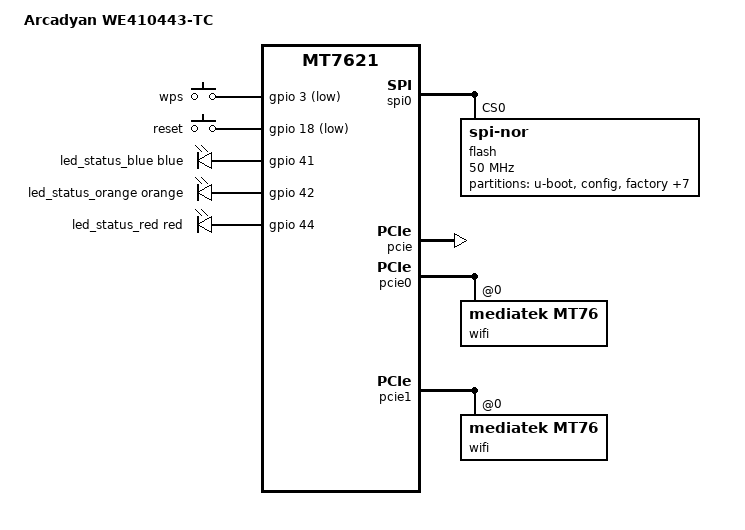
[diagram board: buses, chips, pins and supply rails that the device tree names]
// SPDX-License-Identifier: GPL-2.0-or-later OR MIT
// Arcadyan WE410443-TC (Chunghwa Telecom variant, 16MB SPI NOR, dual image)
// Based on upstream mt7621_arcadyan_we410443.dts (KPN/BT, 32MB) +
// partition layout from pccr10001/padavan-4.4 we410443-tc.dts and stock /proc/mtd.

#include "mt7621.dtsi"

#include <dt-bindings/gpio/gpio.h>
#include <dt-bindings/input/input.h>
#include <dt-bindings/leds/common.h>

/ {
	model = "Arcadyan WE410443-TC";
	compatible = "arcadyan,we410443-tc", "mediatek,mt7621-soc";

	aliases {
		led-boot = &led_status_orange;
		led-failsafe = &led_status_red;
		led-running = &led_status_orange;
		led-upgrade = &led_status_blue;
		label-mac-device = &gmac0;
	};

	chosen {
		bootargs = "console=ttyS0,57600";
	};

	keys {
		compatible = "gpio-keys";

		/* upstream: wps=3 reset=18; padavan-TC has them swapped - verify on device */
		wps {
			label = "wps";
			gpios = <&gpio 3 GPIO_ACTIVE_LOW>;
			linux,code = <KEY_WPS_BUTTON>;
		};

		reset {
			label = "reset";
			gpios = <&gpio 18 GPIO_ACTIVE_LOW>;
			linux,code = <KEY_RESTART>;
		};
	};

	leds {
		compatible = "gpio-leds";

		led_status_blue: blue {
			color = <LED_COLOR_ID_BLUE>;
			function = LED_FUNCTION_STATUS;
			gpios = <&gpio 41 GPIO_ACTIVE_HIGH>;
		};

		/* orange on the TC variant (green on KPN/BT units) */
		led_status_orange: orange {
			color = <LED_COLOR_ID_ORANGE>;
			function = LED_FUNCTION_STATUS;
			gpios = <&gpio 42 GPIO_ACTIVE_HIGH>;
		};

		led_status_red: red {
			color = <LED_COLOR_ID_RED>;
			function = LED_FUNCTION_STATUS;
			gpios = <&gpio 44 GPIO_ACTIVE_HIGH>;
		};
	};
};

&spi0 {
	status = "okay";

	flash@0 {
		compatible = "jedec,spi-nor";
		reg = <0>;
		spi-max-frequency = <50000000>;

		partitions {
			compatible = "fixed-partitions";
			#address-cells = <1>;
			#size-cells = <1>;

			partition@0 {
				label = "u-boot";
				reg = <0x0 0x30000>;
				read-only;
			};

			/* bootloader writes its own data at 0x1000 here */
			partition@30000 {
				label = "config";
				reg = <0x30000 0x10000>;
				read-only;
			};

			partition@40000 {
				label = "factory";
				reg = <0x40000 0x10000>;
				read-only;

				nvmem-layout {
					compatible = "fixed-layout";
					#address-cells = <1>;
					#size-cells = <1>;

					eeprom_factory_0: eeprom@0 {
						reg = <0x0 0x4da8>;
					};

					eeprom_factory_8000: eeprom@8000 {
						reg = <0x8000 0x4da8>;
					};

					/* C8:99:B2:xx:xx:00 binary; LAN=+0, 2.4G=+1, 5G=+2 (matches stock) */
					macaddr_factory_fff0: macaddr@fff0 {
						compatible = "mac-base";
						reg = <0xfff0 0x6>;
						#nvmem-cell-cells = <1>;
					};
				};
			};

			/* stock "Kernel" slot 0 (incl. RootFS) */
			partition@50000 {
				compatible = "denx,uimage";
				label = "firmware";
				reg = <0x50000 0x7b0000>;
			};

			partition@800000 {
				label = "crash_dump";
				reg = <0x800000 0x10000>;
				read-only;
			};

			/* stock "Kernel2" slot 1 - left untouched as fallback */
			partition@810000 {
				label = "firmware2";
				reg = <0x810000 0x7b0000>;
				read-only;
			};

			partition@fc0000 {
				label = "seccfg";
				reg = <0xfc0000 0x10000>;
				read-only;
			};

			partition@fd0000 {
				label = "pricfg";
				reg = <0xfd0000 0x10000>;
				read-only;
			};

			partition@fe0000 {
				label = "arc_log";
				reg = <0xfe0000 0x10000>;
				read-only;
			};

			partition@ff0000 {
				label = "board_data";
				reg = <0xff0000 0x10000>;
				read-only;
			};
		};
	};
};

&gmac0 {
	nvmem-cells = <&macaddr_factory_fff0 0>;
	nvmem-cell-names = "mac-address";
};

&pcie {
	status = "okay";
};

&pcie0 {
	wifi@0,0 {
		compatible = "mediatek,mt76";
		reg = <0x0000 0 0 0 0>;
		nvmem-cells = <&eeprom_factory_0>, <&macaddr_factory_fff0 1>;
		nvmem-cell-names = "eeprom", "mac-address";
		ieee80211-freq-limit = <2400000 2500000>;
	};
};

&pcie1 {
	wifi@0,0 {
		compatible = "mediatek,mt76";
		reg = <0x0000 0 0 0 0>;
		nvmem-cells = <&eeprom_factory_8000>, <&macaddr_factory_fff0 2>;
		nvmem-cell-names = "eeprom", "mac-address";
		ieee80211-freq-limit = <5000000 6000000>;
	};
};

&state_default {
	gpio {
		groups = "i2c", "wdt", "sdhci";
		function = "gpio";
	};
};

&switch0 {
	ports {
		port@0 {
			status = "okay";
			label = "lan";
		};
	};
};

&xhci {
	status = "disabled";
};
